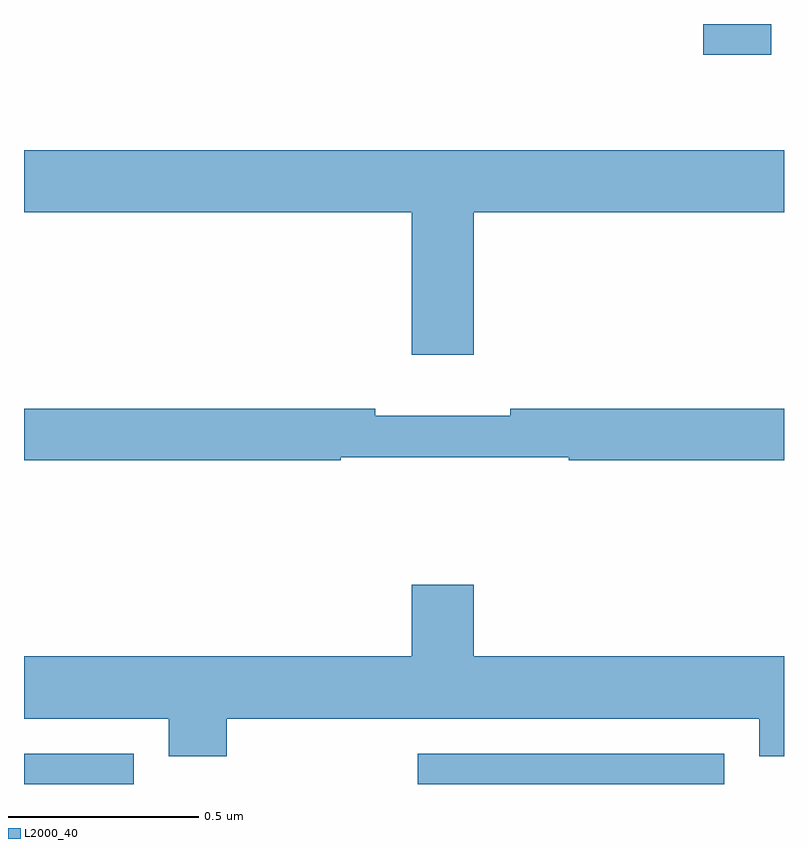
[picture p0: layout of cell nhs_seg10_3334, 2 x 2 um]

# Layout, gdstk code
import gdstk
lib = gdstk.Library(unit=1e-6, precision=1e-09)
def R(c, l, rs):  # rectangles x0, y0, x1, y1
    for r in rs: c.add(gdstk.rectangle(r[:2], r[2:], *l))
def P(c, l, *ps):  # polygons
    for p in ps: c.add(gdstk.Polygon(p, *l))
L2000_40 = (2000, 40)

nhs_seg10_3334 = lib.new_cell('nhs_seg10_3334')
R(nhs_seg10_3334, L2000_40, [(152,1277.5,152.289,1277.58), (153.036,1277.5,153.843,1277.58), (153.788,1279.419,153.966,1279.5)])
P(nhs_seg10_3334, L2000_40, [(153.184,1279.004),(154,1279.004),(154,1279.168),(152,1279.168),(152,1279.004),(153.02,1279.004),(153.02,1278.63),(153.184,1278.63)],
  [(152.834,1278.36),(153.434,1278.36),(153.434,1278.352),(154,1278.352),(154,1278.488),(153.28,1278.488),(153.28,1278.469),(152.924,1278.469),(152.924,1278.488),(152,1278.488),(152,1278.352),(152.834,1278.352)],
  [(152.534,1277.672),(153.935,1277.672),(153.935,1277.573),(154,1277.573),(154,1277.836),(153.184,1277.836),(153.184,1278.025),(153.02,1278.025),(153.02,1277.836),(152,1277.836),(152,1277.672),(152.381,1277.672),(152.381,1277.573),(152.534,1277.573)])

lib.write_gds('nhs_seg10_3334.gds')
